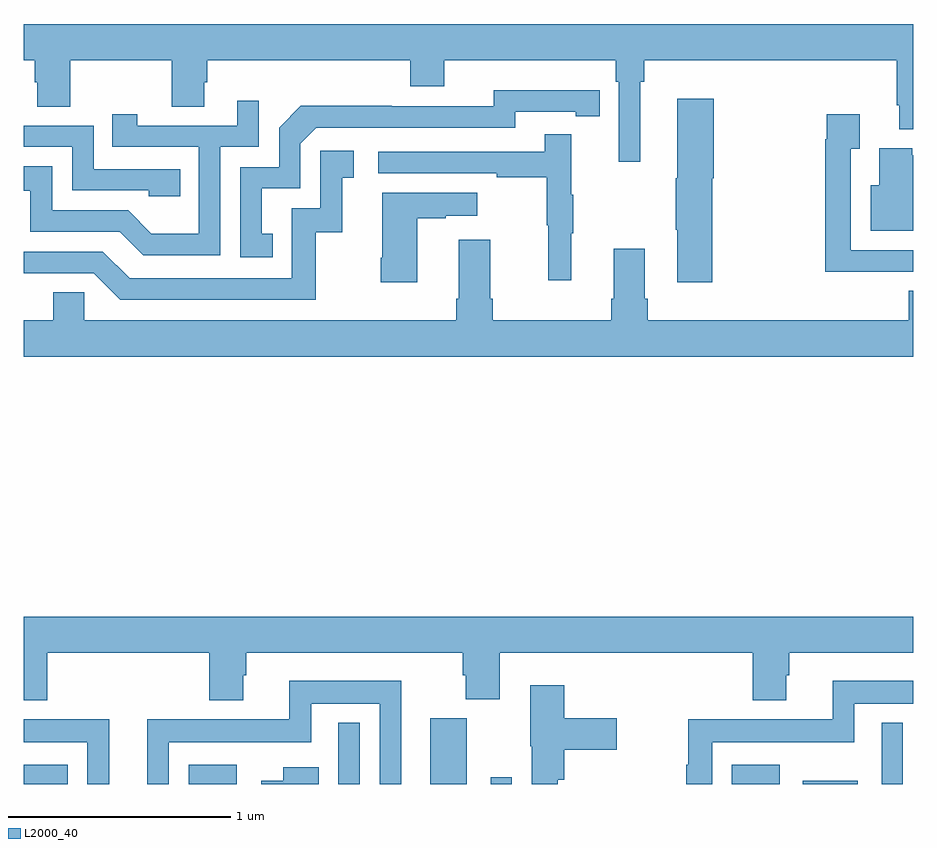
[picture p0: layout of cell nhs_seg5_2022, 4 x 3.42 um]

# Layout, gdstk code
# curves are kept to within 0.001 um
import gdstk
lib = gdstk.Library(unit=1e-6, precision=1e-09)
def R(c, l, rs):  # rectangles x0, y0, x1, y1
    for r in rs: c.add(gdstk.rectangle(r[:2], r[2:], *l))
def P(c, l, *ps):  # polygons
    for p in ps: c.add(gdstk.Polygon(p, *l))
L2000_40 = (2000, 40)

nhs_seg5_2022 = lib.new_cell('nhs_seg5_2022')
R(nhs_seg5_2022, L2000_40, [(229,894.799,229.198,894.886), (229.742,894.799,229.957,894.886), (230.415,894.799,230.511,895.075), (230.828,894.799,230.992,895.095), (231.099,894.799,231.195,894.829), (232.184,894.799,232.399,894.886), (232.503,894.799,232.75,894.814), (232.857,894.799,232.953,895.075)])
P(nhs_seg5_2022, L2000_40, [(231.772,897.956),(231.791,897.956),(231.791,898.052),(232.925,898.052),(232.925,897.85),(232.937,897.85),(232.937,897.743),(233,897.743),(233,898.216),(229,898.216),(229,898.052),(229.049,898.052),(229.049,897.954),(229.061,897.954),(229.061,897.844),(229.209,897.844),(229.209,898.052),(229.666,898.052),(229.666,897.844),(229.813,897.844),(229.813,897.954),(229.826,897.954),(229.826,898.052),(230.738,898.052),(230.738,897.935),(230.89,897.935),(230.89,898.052),(231.662,898.052),(231.662,897.956),(231.675,897.956),(231.675,897.597),(231.772,897.597)],
  [(230.12,897.273),(230.071,897.273),(230.071,897.477),(230.244,897.477),(230.244,897.678),(230.316,897.75),(231.21,897.75),(231.21,897.822),(231.482,897.822),(231.482,897.802),(231.59,897.802),(231.59,897.918),(231.114,897.919),(231.114,897.846),(230.654,897.846),(230.654,897.848),(230.246,897.848),(230.148,897.75),(230.148,897.573),(229.974,897.573),(229.974,897.168),(230.12,897.168)],
  [(232.097,897.522),(232.102,897.522),(232.102,897.88),(231.938,897.88),(231.938,897.522),(231.931,897.522),(231.931,897.292),(231.938,897.292),(231.938,897.054),(232.097,897.054)],
  [(229.884,897.663),(230.058,897.663),(230.058,897.871),(229.961,897.871),(229.961,897.759),(229.51,897.759),(229.51,897.811),(229.399,897.811),(229.399,897.663),(229.788,897.663),(229.788,897.274),(229.574,897.274),(229.47,897.378),(229.128,897.378),(229.128,897.577),(229,897.577),(229,897.467),(229.03,897.467),(229.03,897.282),(229.433,897.282),(229.538,897.177),(229.884,897.177)],
  [(232.895,897.102),(233,897.102),(233,897.198),(232.719,897.198),(232.719,897.655),(232.759,897.655),(232.759,897.811),(232.611,897.811),(232.611,897.698),(232.603,897.698),(232.603,897.101),(232.895,897.101)],
  [(229.703,897.564),(229.314,897.564),(229.314,897.759),(229,897.759),(229,897.663),(229.218,897.663),(229.218,897.468),(229.563,897.468),(229.563,897.441),(229.703,897.441)],
  [(231.461,897.275),(231.472,897.275),(231.472,897.449),(231.461,897.449),(231.461,897.721),(231.343,897.721),(231.343,897.642),(230.595,897.642),(230.595,897.546),(231.127,897.546),(231.127,897.526),(231.351,897.526),(231.351,897.312),(231.358,897.312),(231.358,897.063),(231.461,897.063)],
  [(233,897.627),(232.994,897.627),(232.994,897.658),(232.847,897.658),(232.847,897.49),(232.808,897.49),(232.808,897.287),(233,897.287)],
  [(230.314,897.279),(230.432,897.279),(230.432,897.525),(230.485,897.525),(230.485,897.646),(230.334,897.646),(230.334,897.387),(230.205,897.387),(230.205,897.072),(229.476,897.072),(229.356,897.192),(229,897.192),(229,897.096),(229.314,897.096),(229.434,896.976),(230.314,896.976)],
  [(230.77,897.343),(230.897,897.343),(230.897,897.353),(231.04,897.353),(231.04,897.457),(230.612,897.457),(230.612,897.166),(230.605,897.166),(230.605,897.054),(230.77,897.054)],
  [(233,897.017),(232.979,897.017),(232.979,896.884),(231.806,896.884),(231.806,896.98),(231.793,896.98),(231.793,897.205),(231.653,897.205),(231.653,896.98),(231.641,896.98),(231.641,896.884),(231.11,896.884),(231.11,896.98),(231.097,896.98),(231.097,897.247),(230.957,897.247),(230.957,896.98),(230.945,896.98),(230.945,896.884),(229.272,896.884),(229.272,897.011),(229.133,897.011),(229.133,896.884),(229,896.884),(229,896.72),(233,896.72)],
  [(229.106,895.388),(229.835,895.388),(229.835,895.175),(229.987,895.175),(229.987,895.287),(230,895.287),(230,895.388),(230.975,895.388),(230.975,895.289),(230.987,895.289),(230.987,895.18),(231.14,895.18),(231.14,895.388),(232.277,895.388),(232.277,895.175),(232.429,895.175),(232.429,895.287),(232.442,895.287),(232.442,895.388),(233,895.388),(233,895.552),(229,895.552),(229,895.175),(229.106,895.175)],
  [(229.653,894.986),(230.292,894.986),(230.292,895.16),(230.601,895.16),(230.601,894.799),(230.698,894.799),(230.698,895.264),(230.195,895.264),(230.195,895.09),(229.556,895.09),(229.556,894.799),(229.653,894.799)],
  [(232.095,894.986),(232.734,894.986),(232.734,895.16),(233,895.16),(233,895.264),(232.637,895.264),(232.637,895.09),(231.987,895.09),(231.987,894.886),(231.979,894.886),(231.979,894.799),(232.095,894.799)],
  [(231.401,894.818),(231.431,894.818),(231.431,894.953),(231.667,894.953),(231.667,895.095),(231.431,895.095),(231.431,895.243),(231.278,895.243),(231.278,894.969),(231.285,894.969),(231.285,894.799),(231.401,894.799)],
  [(229.384,895.09),(229,895.09),(229,894.986),(229.287,894.986),(229.287,894.799),(229.384,894.799)],
  [(230.326,894.874),(230.168,894.874),(230.168,894.814),(230.069,894.814),(230.069,894.799),(230.326,894.799)])

lib.write_gds('nhs_seg5_2022.gds')
